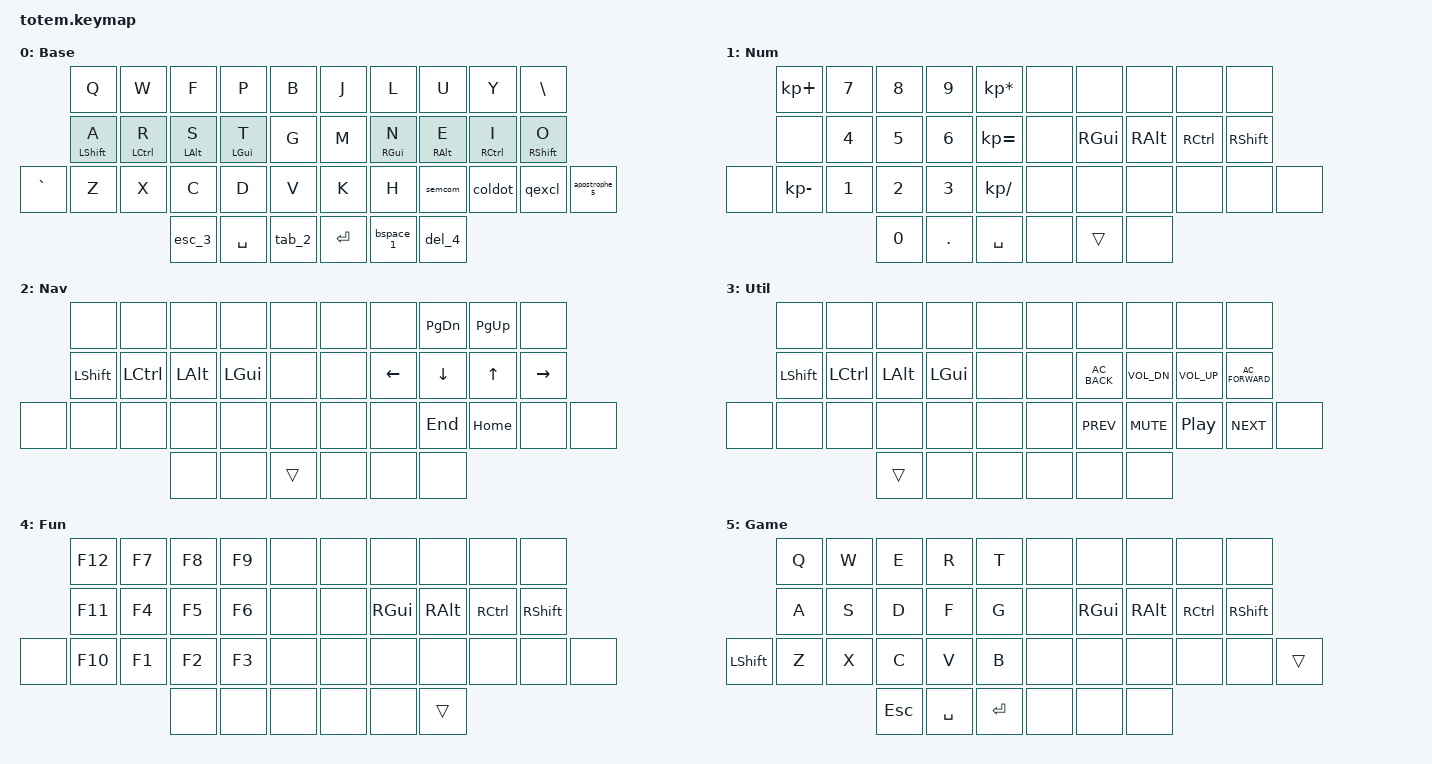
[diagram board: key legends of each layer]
#include "../zmk-helpers/key-labels/totem.h"
#include <behaviors.dtsi>
#include <dt-bindings/zmk/keys.h>

#define Base        0
#define Nav         1
#define Sym         2
#define KEYS_L LT0 LT1 LT2 LT3 LT4 LM0 LM1 LM2 LM3 LM4 LB0 LB1 LB2 LB3 LB4 LB5 // Left-hand keys.
#define KEYS_R RT0 RT1 RT2 RT3 RT4 RM0 RM1 RM2 RM3 RM4 RB0 RB1 RB2 RB3 RB4 RB5 // Right-hand keys.
#define THUMBS LH2 LH1 LH0 RH0 RH1 RH2                                         // Thumb keys.

&mt {
    quick-tap-ms = <150>;
    flavor = "tap-preferred";
    tapping-term-ms = <110>;
    require-prior-idle-ms = <125>;
};

&lt {
    tapping-term-ms = <175>;
    flavor = "tap-preferred";
    require-prior-idle-ms = <145>;
    hold-trigger-key-positions = <>;
    quick-tap-ms = <150>;
};

/ {
    behaviors {
        hml: home_row_mod_left {
            compatible = "zmk,behavior-hold-tap";
            #binding-cells = <2>;
            flavor = "tap-preferred";
            tapping-term-ms = <170>;
            bindings = <&kp>, <&kp>;

            // List of keys on the right side of the keyboard

            hold-trigger-on-release;
            quick-tap-ms = <170>;
            require-prior-idle-ms = <115>;
        };

        hmr: home_row_mod_right {
            compatible = "zmk,behavior-hold-tap";
            #binding-cells = <2>;
            flavor = "tap-preferred";
            tapping-term-ms = <170>;
            bindings = <&kp>, <&kp>;

            // List of keys on the left side of the keyboard

            hold-trigger-on-release;
            quick-tap-ms = <170>;
            require-prior-idle-ms = <115>;
        };

        qexcl: qexcl {
            compatible = "zmk,behavior-mod-morph";
            label = "QEXCL";
            bindings = <&kp QUESTION>, <&kp EXCLAMATION>;

            #binding-cells = <0>;
            mods = <(MOD_LSFT|MOD_RSFT)>;
        };

        semcom: semcom {
            compatible = "zmk,behavior-mod-morph";
            label = "SEMCOM";
            bindings = <&kp COMMA>, <&kp SEMICOLON>;

            #binding-cells = <0>;
            mods = <(MOD_LSFT|MOD_RSFT)>;
        };

        coldot: coldot {
            compatible = "zmk,behavior-mod-morph";
            label = "COLDOT";
            bindings = <&kp PERIOD>, <&kp COLON>;

            #binding-cells = <0>;
            mods = <(MOD_LSFT|MOD_RSFT)>;
        };

        tab_2: tab_2 {
            compatible = "zmk,behavior-tap-dance";
            label = "TAB_2";
            #binding-cells = <0>;
            bindings = <&lt 2 TAB>, <&kp TAB>, <&none>, <&tog 2>;

            tapping-term-ms = <150>;
        };

        ent_1: ent_1 {
            compatible = "zmk,behavior-tap-dance";
            label = "ENT_1";
            #binding-cells = <0>;
            bindings = <&lt 1 RET>, <&kp ENTER>, <&none>, <&tog 1>;

            tapping-term-ms = <150>;
        };

        del_4: del_4 {
            compatible = "zmk,behavior-tap-dance";
            label = "DEL_4";
            #binding-cells = <0>;
            bindings = <&lt_tui 4 DELETE>, <&none>, <&none>, <&tog 4>;

            tapping-term-ms = <150>;
        };

        esc_3: esc_3 {
            compatible = "zmk,behavior-tap-dance";
            label = "ESC_3";
            #binding-cells = <0>;
            bindings = <&lt 3 ESCAPE>, <&none>, <&none>, <&tog 3>;

            tapping-term-ms = <150>;
        };

        bspace_1: bspace_1 {
            compatible = "zmk,behavior-tap-dance";
            label = "BSPACE_1";
            #binding-cells = <0>;
            bindings = <&lt_tui 1 BACKSPACE>, <&none>, <&none>, <&tog 1>;

            tapping-term-ms = <150>;
        };

        apostrophe_5: apostrophe_5 {
            compatible = "zmk,behavior-tap-dance";
            label = "APOSTROPHE_5";
            #binding-cells = <0>;
            bindings = <&kp SQT>, <&none>, <&none>, <&tog 5>;

            tapping-term-ms = <150>;
        };

        lt_tui: lt_tui {
            compatible = "zmk,behavior-hold-tap";
            label = "LT_TUI";
            bindings = <&mo>, <&kp>;

            #binding-cells = <2>;
            tapping-term-ms = <175>;
            flavor = "tap-unless-interrupted";
            quick-tap-ms = <150>;
            require-prior-idle-ms = <145>;
        };
    };

    combos {
        compatible = "zmk,combos";

        lcurl {
            bindings = <&kp LEFT_BRACE>;
            key-positions = <1 2>;
            require-prior-idle-ms = <140>;
            layers = <0>;
        };

        lsqr {
            bindings = <&kp LEFT_BRACKET>;
            key-positions = <11 12>;
            require-prior-idle-ms = <140>;
            layers = <0>;
        };

        lbrac {
            bindings = <&kp LEFT_PARENTHESIS>;
            key-positions = <22 23>;
            require-prior-idle-ms = <140>;
            layers = <0>;
        };

        rcurl {
            bindings = <&kp RIGHT_BRACE>;
            key-positions = <2 3>;
            require-prior-idle-ms = <140>;
            layers = <0>;
        };

        rsqr {
            bindings = <&kp RIGHT_BRACKET>;
            key-positions = <12 13>;
            require-prior-idle-ms = <140>;
            layers = <0>;
        };

        rbrac {
            bindings = <&kp RIGHT_PARENTHESIS>;
            key-positions = <23 24>;
            require-prior-idle-ms = <140>;
            layers = <0>;
        };

        capsw {
            bindings = <&caps_word>;
            key-positions = <10 19>;
            layers = <0>;
            require-prior-idle-ms = <85>;
        };

        Minus {
            bindings = <&kp MINUS>;
            key-positions = <17 7>;
            layers = <0>;
            require-prior-idle-ms = <140>;
        };

        Equals {
            bindings = <&kp EQUAL>;
            key-positions = <8 18>;
            layers = <0>;
            require-prior-idle-ms = <140>;
        };

        Slash {
            bindings = <&kp KP_SLASH>;
            key-positions = <6 16>;
            layers = <0>;
            require-prior-idle-ms = <140>;
        };

        Multiply {
            bindings = <&kp KP_ASTERISK>;
            key-positions = <9 19>;
            layers = <0>;
            require-prior-idle-ms = <140>;
        };

        langle {
            bindings = <&kp LESS_THAN>;
            key-positions = <17 28>;
            layers = <0>;
            require-prior-idle-ms = <140>;
        };

        rangle {
            bindings = <&kp GREATER_THAN>;
            key-positions = <18 29>;
            layers = <0>;
            require-prior-idle-ms = <140>;
        };
    };

    keymap {
        compatible = "zmk,keymap";

        Base {
            display-name = "Base";
            bindings = <
           &kp Q          &kp W         &kp F        &kp P        &kp B     &kp J      &kp L        &kp U        &kp Y         &kp BSLH
           &hml LSHIFT A  &hml LCTRL R  &hml LALT S  &hml LGUI T  &kp G     &kp M      &hmr RGUI N  &hmr RALT E  &hmr RCTRL I  &hmr RSHIFT O
&kp GRAVE  &kp Z          &kp X         &kp C        &kp D        &kp V     &kp K      &kp H        &semcom      &coldot       &qexcl         &apostrophe_5
                                        &esc_3       &kp SPACE    &tab_2    &kp ENTER  &bspace_1    &del_4
            >;
        };

        Num {
            display-name = "Num";
            bindings = <
       &kp KP_PLUS   &kp N7  &kp N8  &kp N9   &kp KP_MULTIPLY    &none  &none     &none     &none      &none
       &none         &kp N4  &kp N5  &kp N6   &kp KP_EQUAL       &none  &kp RGUI  &kp RALT  &kp RCTRL  &kp RSHIFT
&none  &kp KP_MINUS  &kp N1  &kp N2  &kp N3   &kp KP_DIVIDE      &none  &none     &none     &none      &none       &none
                             &kp N0  &kp DOT  &kp SPACE          &none  &trans    &none
            >;
        };

        Nav {
            display-name = "Nav";
            bindings = <
       &none      &none      &none     &none     &none     &none  &none     &kp PAGE_DOWN  &kp PAGE_UP  &none
       &kp LSHFT  &kp LCTRL  &kp LALT  &kp LGUI  &none     &none  &kp LEFT  &kp DOWN       &kp UP       &kp RIGHT
&none  &none      &none      &none     &none     &none     &none  &none     &kp END        &kp HOME     &none      &none
                             &none     &none     &trans    &none  &none     &none
            >;
        };

        UTIL {
            display-name = "Util";
            bindings = <
       &none      &none      &none     &none     &none    &none  &none          &none         &none         &none
       &kp LSHFT  &kp LCTRL  &kp LALT  &kp LGUI  &none    &none  &kp C_AC_BACK  &kp C_VOL_DN  &kp C_VOL_UP  &kp C_AC_FORWARD
&none  &none      &none      &none     &none     &none    &none  &kp C_PREV     &kp C_MUTE    &kp C_PP      &kp C_NEXT        &none
                             &trans    &none     &none    &none  &none          &none
            >;
        };

        FUN {
            display-name = "Fun";
            bindings = <
       &kp F12  &kp F7  &kp F8  &kp F9  &none    &none  &none     &none     &none      &none
       &kp F11  &kp F4  &kp F5  &kp F6  &none    &none  &kp RGUI  &kp RALT  &kp RCTRL  &kp RSHFT
&none  &kp F10  &kp F1  &kp F2  &kp F3  &none    &none  &none     &none     &none      &none      &none
                        &none   &none   &none    &none  &none     &trans
            >;
        };

        GAME {
            display-name = "Game";
            bindings = <
           &kp Q  &kp W  &kp E    &kp R      &kp T        &none  &none     &none     &none      &none
           &kp A  &kp S  &kp D    &kp F      &kp G        &none  &kp RGUI  &kp RALT  &kp RCTRL  &kp RSHFT
&kp LSHFT  &kp Z  &kp X  &kp C    &kp V      &kp B        &none  &none     &none     &none      &none      &trans
                         &kp ESC  &kp SPACE  &kp ENTER    &none  &none     &none
            >;
        };
    };
};
